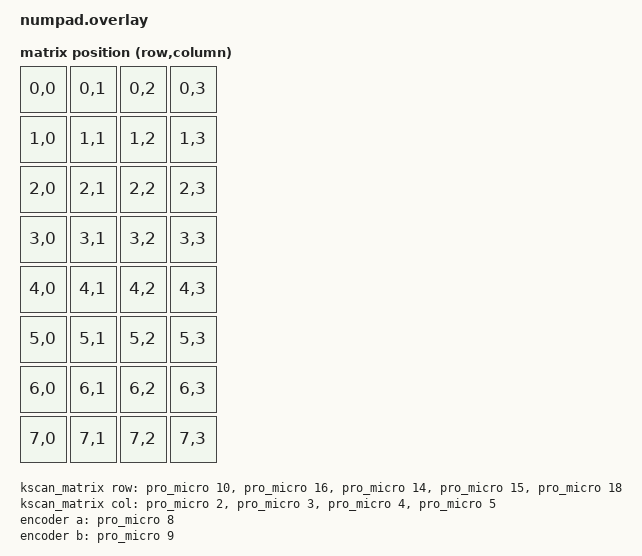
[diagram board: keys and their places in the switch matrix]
/*
 * Copyright (c) 2026
 * SPDX-License-Identifier: MIT
 *
 * 数字小键盘 shield（nice!nano v2 / Pro Micro 互连）
 * 5x4 矩阵(编码器按压复用 R4C0 空位) + EC11 旋钮 + AI32C 触摸滑块
 *
 * 引脚分配（按排针物理位置连续）：
 *   左列 D2-D9：C0=D2 C1=D3 C2=D4 C3=D5 | AI32C: OUT1=D6 OUT2=D7 | EC11: A=D8 B=D9
 *   右列 D10-D18：R0=D10 R1=D16 R2=D14 R3=D15 R4=D18
 *   WS2812 主链: DATA=D20 (P0.29, SPIM3 MOSI) — 19 颗 RGB 效果
 *   WS2812 电量链: DATA=D19 (P0.2, SPIM2 MOSI) — 2 颗电量灯
 *   预留：D0/D1（串口）、D21
 *
 * 编码器按压：复用矩阵 R4C0（0 行空位，行 D18 + 列 D2），不再需要独立虚拟行
 */
#include <dt-bindings/zmk/matrix_transform.h>
#include <dt-bindings/led/led.h>

/ {
    chosen {
        zmk,kscan = &kscan;
        zmk,physical-layout = <&numpad_layout>;
        zmk,underglow = &led_strip;
    };

    /* Composite kscan: matrix + AI32C touch */
    kscan: kscan {
        compatible = "zmk,kscan-composite";

        matrix {
            kscan = <&kscan_matrix>;
            row-offset = <0>;
            col-offset = <0>;
        };

        touch {
            kscan = <&kscan_ai32c>;
            row-offset = <5>;
            col-offset = <0>;
        };
    };

    /* 5x4 matrix kscan (R4C0 = encoder press) */
    kscan_matrix: kscan_matrix {
        compatible = "zmk,kscan-gpio-matrix";
        wakeup-source;
        diode-direction = "col2row";
        row-gpios
            = <&pro_micro 10 (GPIO_ACTIVE_HIGH | GPIO_PULL_DOWN)>
            , <&pro_micro 16 (GPIO_ACTIVE_HIGH | GPIO_PULL_DOWN)>
            , <&pro_micro 14 (GPIO_ACTIVE_HIGH | GPIO_PULL_DOWN)>
            , <&pro_micro 15 (GPIO_ACTIVE_HIGH | GPIO_PULL_DOWN)>
            , <&pro_micro 18 (GPIO_ACTIVE_HIGH | GPIO_PULL_DOWN)>
            ;
        col-gpios
            = <&pro_micro 2  GPIO_ACTIVE_HIGH>
            , <&pro_micro 3  GPIO_ACTIVE_HIGH>
            , <&pro_micro 4  GPIO_ACTIVE_HIGH>
            , <&pro_micro 5  GPIO_ACTIVE_HIGH>
            ;
    };

    /* AI32C 3-channel capacitive touch slider */
    kscan_ai32c: kscan_ai32c {
        compatible = "zmk,kscan-gpio-ai32c";
        wakeup-source;
        out-gpios
            = <&pro_micro 6 (GPIO_ACTIVE_LOW | GPIO_PULL_UP)>
            , <&pro_micro 7 (GPIO_ACTIVE_LOW | GPIO_PULL_UP)>
            ;
        poll-period-ms = <10>;
    };

    /* Transform: 8 rows x 4 cols */
    /* R0-R4: matrix keys (R4C0 = encoder press)    R5-R7: touch slider */
    default_transform: keymap_transform {
        compatible = "zmk,matrix-transform";
        columns = <4>;
        rows = <8>;
//  | Num | /   | *   | -      |   R0
//  | 7   | 8   | 9   | (2U+)  |   R1C3 空位(+轴在R2C3)
//  | 4   | 5   | 6   | +      |   R2
//  | 1   | 2   | 3   | (2UE)  |   R3C3 空位(Enter轴在R4C3)
//  |ENC |  0  |  .  | Enter  |   R4C0 编码器按压(0为2U宽,轴在R4C1)
//  | T1  | -   | -   | -      |   R5 = 触摸滑块 KEY1
//  | T2  | -   | -   | -      |   R6 = 触摸滑块 KEY2
//  | T3  | -   | -   | -      |   R7 = 触摸滑块 KEY3
        map = <
RC(0,0) RC(0,1) RC(0,2) RC(0,3)
RC(1,0) RC(1,1) RC(1,2) RC(1,3)
RC(2,0) RC(2,1) RC(2,2) RC(2,3)
RC(3,0) RC(3,1) RC(3,2) RC(3,3)
RC(4,0) RC(4,1) RC(4,2) RC(4,3)
RC(5,0) RC(5,1) RC(5,2) RC(5,3)
RC(6,0) RC(6,1) RC(6,2) RC(6,3)
RC(7,0) RC(7,1) RC(7,2) RC(7,3)
        >;
    };

    numpad_layout: numpad_layout {
        compatible = "zmk,physical-layout";
        display-name = "Numpad";
        transform = <&default_transform>;
    };

    encoder: encoder {
        compatible = "alps,ec11";
        a-gpios = <&pro_micro 8 (GPIO_ACTIVE_HIGH | GPIO_PULL_UP)>;
        b-gpios = <&pro_micro 9 (GPIO_ACTIVE_HIGH | GPIO_PULL_UP)>;
        steps = <80>;
        status = "disabled";
    };

    sensors: sensors {
        compatible = "zmk,keymap-sensors";
        sensors = <&encoder>;
        triggers-per-rotation = <20>;
    };
};

&encoder {
    status = "okay";
};

/* WS2812 RGB 灯珠：SPIM3 MOSI = D20 (P0.29)，每键 1 颗共 19 颗 */
&pinctrl {
    spi3_default: spi3_default {
        group1 {
            psels = <NRF_PSEL(SPIM_MOSI, 0, 29)>;
        };
    };

    spi3_sleep: spi3_sleep {
        group1 {
            psels = <NRF_PSEL(SPIM_MOSI, 0, 29)>;
            low-power-enable;
        };
    };
};

&spi3 {
    compatible = "nordic,nrf-spim";
    status = "okay";

    pinctrl-0 = <&spi3_default>;
    pinctrl-1 = <&spi3_sleep>;
    pinctrl-names = "default", "sleep";

    led_strip: ws2812@0 {
        compatible = "worldsemi,ws2812-spi";
        reg = <0>; /* ignored, but necessary for SPI bindings */
        spi-max-frequency = <4000000>;

        /* WS2812 */
        chain-length = <19>; /* 每键 1 颗，共 19 颗 */
        spi-one-frame = <0x70>;
        spi-zero-frame = <0x40>;

        color-mapping = <LED_COLOR_ID_GREEN LED_COLOR_ID_RED LED_COLOR_ID_BLUE>;
    };
};

/* WS2812 电量指示灯：SPIM2 MOSI = D19 (P0.2)，2 颗，独立链避免与 RGB 冲突 */
&pinctrl {
    spi2_default: spi2_default {
        group1 {
            psels = <NRF_PSEL(SPIM_MOSI, 0, 2)>;
        };
    };

    spi2_sleep: spi2_sleep {
        group1 {
            psels = <NRF_PSEL(SPIM_MOSI, 0, 2)>;
            low-power-enable;
        };
    };
};

&spi2 {
    compatible = "nordic,nrf-spim";
    status = "okay";

    pinctrl-0 = <&spi2_default>;
    pinctrl-1 = <&spi2_sleep>;
    pinctrl-names = "default", "sleep";

    led_strip_batt: ws2812@0 {
        compatible = "worldsemi,ws2812-spi";
        reg = <0>;
        spi-max-frequency = <4000000>;
        chain-length = <2>;
        spi-one-frame = <0x70>;
        spi-zero-frame = <0x40>;
        color-mapping = <LED_COLOR_ID_GREEN LED_COLOR_ID_RED LED_COLOR_ID_BLUE>;
    };
};
